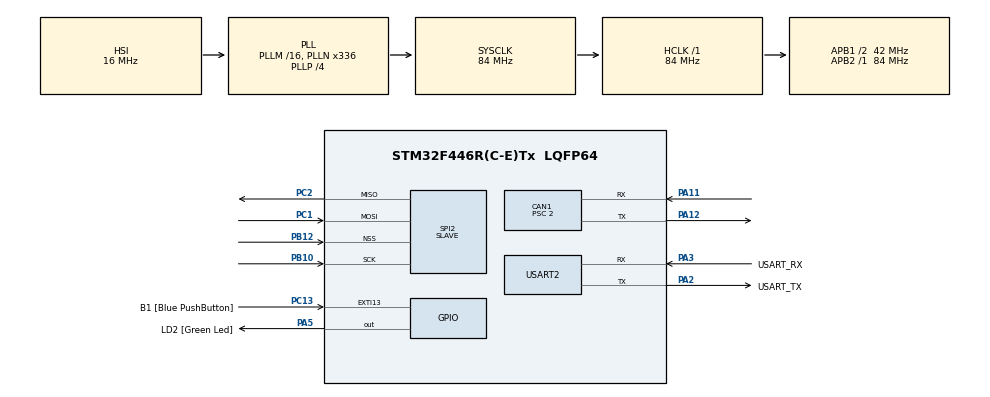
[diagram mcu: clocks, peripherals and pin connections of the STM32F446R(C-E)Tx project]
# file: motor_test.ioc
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CAN1.BS1=CAN_BS1_16TQ
CAN1.BS2=CAN_BS2_4TQ
CAN1.CalculateBaudRate=1000000
CAN1.CalculateTimeBit=1000
CAN1.CalculateTimeQuantum=47.61904761904762
CAN1.Prescaler=2
Dma.Request0=SPI2_RX
Dma.Request1=SPI2_TX
Dma.SPI2_RX.0.Direction=DMA_PERIPH_TO_MEMORY
Dma.SPI2_RX.0.FIFOMode=DMA_FIFOMODE_DISABLE
Dma.SPI2_RX.0.Instance=DMA1_Stream3
Dma.SPI2_RX.0.MemDataAlignment=DMA_MDATAALIGN_BYTE
Dma.SPI2_RX.0.MemInc=DMA_MINC_ENABLE
Dma.SPI2_RX.0.Mode=DMA_NORMAL
Dma.SPI2_RX.0.PeriphDataAlignment=DMA_PDATAALIGN_BYTE
Dma.SPI2_RX.0.PeriphInc=DMA_PINC_DISABLE
Dma.SPI2_RX.0.Priority=DMA_PRIORITY_LOW
Dma.SPI2_TX.1.Direction=DMA_MEMORY_TO_PERIPH
Dma.SPI2_TX.1.FIFOMode=DMA_FIFOMODE_DISABLE
Dma.SPI2_TX.1.Instance=DMA1_Stream4
Dma.SPI2_TX.1.MemDataAlignment=DMA_MDATAALIGN_BYTE
Dma.SPI2_TX.1.MemInc=DMA_MINC_ENABLE
Dma.SPI2_TX.1.Mode=DMA_NORMAL
Dma.SPI2_TX.1.PeriphDataAlignment=DMA_PDATAALIGN_BYTE
Dma.SPI2_TX.1.PeriphInc=DMA_PINC_DISABLE
Dma.SPI2_TX.1.Priority=DMA_PRIORITY_LOW
Mcu.Family=STM32F4
Mcu.Name=STM32F446R(C-E)Tx
Mcu.Package=LQFP64
NVIC.CAN1_RX0_IRQn=true\:1\:0\:true\:false\:true\:true\:true\:true
NVIC.DMA1_Stream3_IRQn=true\:0\:0\:false\:false\:true\:false\:true\:true
NVIC.DMA1_Stream4_IRQn=true\:0\:0\:false\:false\:true\:false\:true\:true
NVIC.PriorityGroup=NVIC_PRIORITYGROUP_2
NVIC.SPI2_IRQn=true\:1\:0\:true\:false\:true\:true\:true\:true
PA11.Mode=CAN_Activate
PA11.Signal=CAN1_RX
PA12.Mode=CAN_Activate
PA12.Signal=CAN1_TX
PA13.GPIO_Label=TMS
PA13.Mode=Serial_Wire
PA13.Signal=SYS_JTMS-SWDIO
PA14.GPIO_Label=TCK
PA14.Mode=Serial_Wire
PA14.Signal=SYS_JTCK-SWCLK
PA2.GPIO_Label=USART_TX
PA2.Mode=Asynchronous
PA2.Signal=USART2_TX
PA3.GPIO_Label=USART_RX
PA3.Mode=Asynchronous
PA3.Signal=USART2_RX
PA5.GPIO_Label=LD2 [Green Led]
PA5.Signal=GPIO_Output
PB10.Mode=Full_Duplex_Slave
PB10.Signal=SPI2_SCK
PB12.Mode=NSS_Signal_Hard_Input
PB12.Signal=SPI2_NSS
PB3.GPIO_Label=SWO
PB3.Signal=SYS_JTDO-SWO
PC1.Mode=Full_Duplex_Slave
PC1.Signal=SPI2_MOSI
PC13.GPIO_Label=B1 [Blue PushButton]
PC13.GPIO_ModeDefaultEXTI=GPIO_MODE_IT_FALLING
PC13.Signal=GPXTI13
PC14-OSC32_IN.Mode=LSE-External-Oscillator
PC14-OSC32_IN.Signal=RCC_OSC32_IN
PC15-OSC32_OUT.Mode=LSE-External-Oscillator
PC15-OSC32_OUT.Signal=RCC_OSC32_OUT
PC2.Mode=Full_Duplex_Slave
PC2.Signal=SPI2_MISO
PH0-OSC_IN.Mode=HSE-External-Oscillator
PH0-OSC_IN.Signal=RCC_OSC_IN
PH1-OSC_OUT.Mode=HSE-External-Oscillator
PH1-OSC_OUT.Signal=RCC_OSC_OUT
ProjectManager.HeapSize=0x200
ProjectManager.StackSize=0x400
ProjectManager.TargetToolchain=STM32CubeIDE
RCC.48MHZClocksFreq_Value=84000000
RCC.AHBFreq_Value=84000000
RCC.APB1CLKDivider=RCC_HCLK_DIV2
RCC.APB1Freq_Value=42000000
RCC.APB1TimFreq_Value=84000000
RCC.APB2Freq_Value=84000000
RCC.APB2TimFreq_Value=84000000
RCC.CortexFreq_Value=84000000
RCC.FLatency-AdvancedSettings=FLASH_LATENCY_2
RCC.HCLKFreq_Value=84000000
RCC.HSE_VALUE=8000000
RCC.HSI_VALUE=16000000
RCC.PLLN=336
RCC.PLLP=RCC_PLLP_DIV4
RCC.SYSCLKFreq_VALUE=84000000
RCC.SYSCLKSource=RCC_SYSCLKSOURCE_PLLCLK
RCC.USBFreq_Value=168000000
RCC.VCOOutputFreq_Value=336000000
SPI2.Direction=SPI_DIRECTION_2LINES
SPI2.Mode=SPI_MODE_SLAVE
SPI2.VirtualNSS=VM_NSSHARD
SPI2.VirtualType=VM_SLAVE
USART2.VirtualMode=VM_ASYNC
board=NUCLEO-F446RE

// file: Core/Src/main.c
/* USER CODE BEGIN Header */
/**
  ******************************************************************************
  * @file           : main.c
  * @brief          : Main program body
  ******************************************************************************
  * @attention
  *
  * Copyright (c) 2025 STMicroelectronics.
  * All rights reserved.
  *
  * This software is licensed under terms that can be found in the LICENSE file
  * in the root directory of this software component.
  * If no LICENSE file comes with this software, it is provided AS-IS.
  *
  ******************************************************************************
  */
/* USER CODE END Header */
#include "main.h"

/* USER CODE BEGIN Includes */

#include "stm32f4xx_hal.h"
#include "stm32f4xx_hal_def.h"
#include "stm32f4xx_hal_uart.h"
#include <stdint.h>
#include <stdio.h>
#include <string.h>
#include "robostride_test.h"
#include "motor_chain.h"
#include "slave_spi.h"

/* USER CODE END Includes */

CAN_HandleTypeDef hcan1;

SPI_HandleTypeDef hspi2;
DMA_HandleTypeDef hdma_spi2_rx;
DMA_HandleTypeDef hdma_spi2_tx;

UART_HandleTypeDef huart2;

void SystemClock_Config(void);
static void MX_GPIO_Init(void);
static void MX_DMA_Init(void);
static void MX_USART2_UART_Init(void);
static void MX_CAN1_Init(void);
static void MX_SPI2_Init(void);

/* USER CODE BEGIN 0 */
char uart_msg[100];

/* USER CODE END 0 */

int main(void)
{

  /* MCU Configuration--------------------------------------------------------*/

  /* Reset of all peripherals, Initializes the Flash interface and the Systick. */
  HAL_Init();

  /* USER CODE BEGIN Init */
  can_rx_flag = 0;

  /* USER CODE END Init */

  /* Configure the system clock */
  SystemClock_Config();

  /* Initialize all configured peripherals */
  MX_GPIO_Init();
  MX_DMA_Init();
  MX_USART2_UART_Init();
  MX_CAN1_Init();
  MX_SPI2_Init();
  /* USER CODE BEGIN 2 */

  if(can_bus_init() != HAL_OK) return 1;
  if(motor_chain_init() != HAL_OK) return 1;
  if(motor_chain_go_zeropos_dbg() != HAL_OK) return 1;
  spi_dma_init(&hspi2);

   uint32_t tick_tele = HAL_GetTick();
   uint32_t tick_inc = HAL_GetTick();
   uint32_t tick_pos_inc = HAL_GetTick();
   float pos_1 = 0;
   float pos_2 = 0;
   float spd_1 = 0;
   float spd_2 = 0;
   float pos_step_1 = 1.2;
   float pos_step_2 = 1.2;
   float step_1 = 0.2;
   float step_2 = 0.1;

  /* USER CODE END 2 */

  /* Infinite loop */
  while (1)
  {

    /* USER CODE BEGIN 3 */
	if (data_receive_flag){
		spi_update_all_motors();
		data_receive_flag = 0;
		HAL_GPIO_TogglePin(LD2_GPIO_Port, LD2_Pin);
//		sprintf(uart_msg,"received parameter: pos -> (%f), rpm -> (%f)\r\n", motors[0].set_pos,motors[0].set_rpm);
//		HAL_UART_Transmit(&huart2, uart_msg, strlen(uart_msg), 10000);
	}

//	if(HAL_GetTick() - tick_tele >= 100){
//		tick_tele = HAL_GetTick();
//		motor_set_spd(1, spd_1, 10.0f);
//		motor_set_spd(2, spd_2, 10.0f);
//
//	}
//
//	if(HAL_GetTick() - tick_inc >= 200){
//		tick_inc = HAL_GetTick();
//		spd_1 += step_1;
//		spd_2 += step_2;
//		if (spd_1 >= 10.0f || spd_1 <= - 10.0f) step_1 *= -1;
//		if (spd_2 >= 10.0f || spd_2 <= - 10.0f) step_2 *= -1;
//	}

  }
  /* USER CODE END 3 */
}

void SystemClock_Config(void)
{
  RCC_OscInitTypeDef RCC_OscInitStruct = {0};
  RCC_ClkInitTypeDef RCC_ClkInitStruct = {0};

  /** Configure the main internal regulator output voltage
  */
  __HAL_RCC_PWR_CLK_ENABLE();
  __HAL_PWR_VOLTAGESCALING_CONFIG(PWR_REGULATOR_VOLTAGE_SCALE3);

  /** Initializes the RCC Oscillators according to the specified parameters
  * in the RCC_OscInitTypeDef structure.
  */
  RCC_OscInitStruct.OscillatorType = RCC_OSCILLATORTYPE_HSI;
  RCC_OscInitStruct.HSIState = RCC_HSI_ON;
  RCC_OscInitStruct.HSICalibrationValue = RCC_HSICALIBRATION_DEFAULT;
  RCC_OscInitStruct.PLL.PLLState = RCC_PLL_ON;
  RCC_OscInitStruct.PLL.PLLSource = RCC_PLLSOURCE_HSI;
  RCC_OscInitStruct.PLL.PLLM = 16;
  RCC_OscInitStruct.PLL.PLLN = 336;
  RCC_OscInitStruct.PLL.PLLP = RCC_PLLP_DIV4;
  RCC_OscInitStruct.PLL.PLLQ = 2;
  RCC_OscInitStruct.PLL.PLLR = 2;
  if (HAL_RCC_OscConfig(&RCC_OscInitStruct) != HAL_OK)
  {
    Error_Handler();
  }

  /** Initializes the CPU, AHB and APB buses clocks
  */
  RCC_ClkInitStruct.ClockType = RCC_CLOCKTYPE_HCLK|RCC_CLOCKTYPE_SYSCLK
                              |RCC_CLOCKTYPE_PCLK1|RCC_CLOCKTYPE_PCLK2;
  RCC_ClkInitStruct.SYSCLKSource = RCC_SYSCLKSOURCE_PLLCLK;
  RCC_ClkInitStruct.AHBCLKDivider = RCC_SYSCLK_DIV1;
  RCC_ClkInitStruct.APB1CLKDivider = RCC_HCLK_DIV2;
  RCC_ClkInitStruct.APB2CLKDivider = RCC_HCLK_DIV1;

  if (HAL_RCC_ClockConfig(&RCC_ClkInitStruct, FLASH_LATENCY_2) != HAL_OK)
  {
    Error_Handler();
  }
}

static void MX_CAN1_Init(void)
{

  hcan1.Instance = CAN1;
  hcan1.Init.Prescaler = 2;
  hcan1.Init.Mode = CAN_MODE_NORMAL;
  hcan1.Init.SyncJumpWidth = CAN_SJW_1TQ;
  hcan1.Init.TimeSeg1 = CAN_BS1_16TQ;
  hcan1.Init.TimeSeg2 = CAN_BS2_4TQ;
  hcan1.Init.TimeTriggeredMode = DISABLE;
  hcan1.Init.AutoBusOff = DISABLE;
  hcan1.Init.AutoWakeUp = DISABLE;
  hcan1.Init.AutoRetransmission = DISABLE;
  hcan1.Init.ReceiveFifoLocked = DISABLE;
  hcan1.Init.TransmitFifoPriority = DISABLE;
  if (HAL_CAN_Init(&hcan1) != HAL_OK)
  {
    Error_Handler();
  }

}

static void MX_SPI2_Init(void)
{

  /* SPI2 parameter configuration*/
  hspi2.Instance = SPI2;
  hspi2.Init.Mode = SPI_MODE_SLAVE;
  hspi2.Init.Direction = SPI_DIRECTION_2LINES;
  hspi2.Init.DataSize = SPI_DATASIZE_8BIT;
  hspi2.Init.CLKPolarity = SPI_POLARITY_LOW;
  hspi2.Init.CLKPhase = SPI_PHASE_1EDGE;
  hspi2.Init.NSS = SPI_NSS_HARD_INPUT;
  hspi2.Init.FirstBit = SPI_FIRSTBIT_MSB;
  hspi2.Init.TIMode = SPI_TIMODE_DISABLE;
  hspi2.Init.CRCCalculation = SPI_CRCCALCULATION_DISABLE;
  hspi2.Init.CRCPolynomial = 10;
  if (HAL_SPI_Init(&hspi2) != HAL_OK)
  {
    Error_Handler();
  }

}

static void MX_USART2_UART_Init(void)
{

  huart2.Instance = USART2;
  huart2.Init.BaudRate = 115200;
  huart2.Init.WordLength = UART_WORDLENGTH_8B;
  huart2.Init.StopBits = UART_STOPBITS_1;
  huart2.Init.Parity = UART_PARITY_NONE;
  huart2.Init.Mode = UART_MODE_TX_RX;
  huart2.Init.HwFlowCtl = UART_HWCONTROL_NONE;
  huart2.Init.OverSampling = UART_OVERSAMPLING_16;
  if (HAL_UART_Init(&huart2) != HAL_OK)
  {
    Error_Handler();
  }

}

static void MX_DMA_Init(void)
{

  /* DMA controller clock enable */
  __HAL_RCC_DMA1_CLK_ENABLE();

  /* DMA interrupt init */
  /* DMA1_Stream3_IRQn interrupt configuration */
  HAL_NVIC_SetPriority(DMA1_Stream3_IRQn, 0, 0);
  HAL_NVIC_EnableIRQ(DMA1_Stream3_IRQn);
  /* DMA1_Stream4_IRQn interrupt configuration */
  HAL_NVIC_SetPriority(DMA1_Stream4_IRQn, 0, 0);
  HAL_NVIC_EnableIRQ(DMA1_Stream4_IRQn);

}

static void MX_GPIO_Init(void)
{
  GPIO_InitTypeDef GPIO_InitStruct = {0};

  /* GPIO Ports Clock Enable */
  __HAL_RCC_GPIOC_CLK_ENABLE();
  __HAL_RCC_GPIOH_CLK_ENABLE();
  __HAL_RCC_GPIOA_CLK_ENABLE();
  __HAL_RCC_GPIOB_CLK_ENABLE();

  /*Configure GPIO pin Output Level */
  HAL_GPIO_WritePin(LD2_GPIO_Port, LD2_Pin, GPIO_PIN_RESET);

  /*Configure GPIO pin : B1_Pin */
  GPIO_InitStruct.Pin = B1_Pin;
  GPIO_InitStruct.Mode = GPIO_MODE_IT_FALLING;
  GPIO_InitStruct.Pull = GPIO_NOPULL;
  HAL_GPIO_Init(B1_GPIO_Port, &GPIO_InitStruct);

  /*Configure GPIO pin : LD2_Pin */
  GPIO_InitStruct.Pin = LD2_Pin;
  GPIO_InitStruct.Mode = GPIO_MODE_OUTPUT_PP;
  GPIO_InitStruct.Pull = GPIO_NOPULL;
  GPIO_InitStruct.Speed = GPIO_SPEED_FREQ_LOW;
  HAL_GPIO_Init(LD2_GPIO_Port, &GPIO_InitStruct);

}

void Error_Handler(void)
{
  __disable_irq();
  while (1)
  {
  }
}
